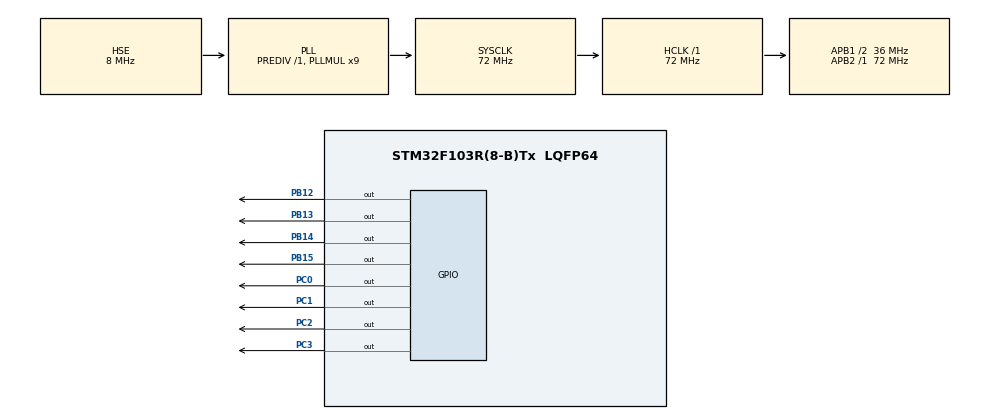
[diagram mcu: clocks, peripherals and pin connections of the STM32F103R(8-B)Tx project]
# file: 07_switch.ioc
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Mcu.Family=STM32F1
Mcu.Name=STM32F103R(8-B)Tx
Mcu.Package=LQFP64
NVIC.PriorityGroup=NVIC_PRIORITYGROUP_4
PB12.Signal=GPIO_Output
PB13.Signal=GPIO_Output
PB14.Signal=GPIO_Output
PB15.Signal=GPIO_Output
PC0.Signal=GPIO_Output
PC1.Signal=GPIO_Output
PC14-OSC32_IN.Mode=LSE-External-Oscillator
PC14-OSC32_IN.Signal=RCC_OSC32_IN
PC15-OSC32_OUT.Mode=LSE-External-Oscillator
PC15-OSC32_OUT.Signal=RCC_OSC32_OUT
PC2.Signal=GPIO_Output
PC3.Signal=GPIO_Output
PD0-OSC_IN.Mode=HSE-External-Clock-Source
PD0-OSC_IN.Signal=RCC_OSC_IN
PD1-OSC_OUT.Mode=HSE-External-Clock-Source
PD1-OSC_OUT.Signal=RCC_OSC_OUT
ProjectManager.HeapSize=0x200
ProjectManager.StackSize=0x400
ProjectManager.TargetToolchain=STM32CubeIDE
RCC.AHBFreq_Value=72000000
RCC.APB1CLKDivider=RCC_HCLK_DIV2
RCC.APB1Freq_Value=36000000
RCC.APB1TimFreq_Value=72000000
RCC.APB2Freq_Value=72000000
RCC.APB2TimFreq_Value=72000000
RCC.HCLKFreq_Value=72000000
RCC.PLLMUL=RCC_PLL_MUL9
RCC.PLLSourceVirtual=RCC_PLLSOURCE_HSE
RCC.SYSCLKFreq_VALUE=72000000
RCC.SYSCLKSource=RCC_SYSCLKSOURCE_PLLCLK
RCC.USBFreq_Value=72000000
board=custom

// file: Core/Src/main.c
/* USER CODE BEGIN Header */
/**
 ******************************************************************************
 * @file           : main.c
 * @brief          : Main program body
 ******************************************************************************
 * @attention
 *
 * Copyright (c) 2023 STMicroelectronics.
 * All rights reserved.
 *
 * This software is licensed under terms that can be found in the LICENSE file
 * in the root directory of this software component.
 * If no LICENSE file comes with this software, it is provided AS-IS.
 *
 ******************************************************************************
 */
/* USER CODE END Header */
#include "main.h"

void SystemClock_Config(void);
static void MX_GPIO_Init(void);

int main(void) {

	/* MCU Configuration--------------------------------------------------------*/

	/* Reset of all peripherals, Initializes the Flash interface and the Systick. */
	HAL_Init();

	/* Configure the system clock */
	SystemClock_Config();

	/* Initialize all configured peripherals */
	MX_GPIO_Init();
	/* USER CODE BEGIN 2 */
	void set_led(uint8_t num, uint8_t n) {
		switch (num) {
		case 1:
			HAL_GPIO_WritePin(GPIOC, GPIO_PIN_3, n);
			break;
		case 2:
			HAL_GPIO_WritePin(GPIOC, GPIO_PIN_2, n);
			break;
		case 3:
			HAL_GPIO_WritePin(GPIOC, GPIO_PIN_1, n);
			break;
		case 4:
			HAL_GPIO_WritePin(GPIOC, GPIO_PIN_0, n);
			break;
		case 5:
			HAL_GPIO_WritePin(GPIOB, GPIO_PIN_15, n);
			break;
		case 6:
			HAL_GPIO_WritePin(GPIOB, GPIO_PIN_14, n);
			break;
		case 7:
			HAL_GPIO_WritePin(GPIOB, GPIO_PIN_13, n);
			break;
		case 8:
			HAL_GPIO_WritePin(GPIOB, GPIO_PIN_12, n);
			break;
		}
	}

	/* USER CODE END 2 */

	/* Infinite loop */
	/* USER CODE BEGIN WHILE */
	while (1) {
		for (uint8_t i = 1; i < 9; i++) {
			set_led(i, GPIO_PIN_SET);
			HAL_Delay(500);
			set_led(i, GPIO_PIN_RESET);
			HAL_Delay(500);
		}
		/* USER CODE END WHILE */

	}
}

void SystemClock_Config(void) {
	RCC_OscInitTypeDef RCC_OscInitStruct = { 0 };
	RCC_ClkInitTypeDef RCC_ClkInitStruct = { 0 };

	/** Initializes the RCC Oscillators according to the specified parameters
	 * in the RCC_OscInitTypeDef structure.
	 */
	RCC_OscInitStruct.OscillatorType = RCC_OSCILLATORTYPE_HSE;
	RCC_OscInitStruct.HSEState = RCC_HSE_BYPASS;
	RCC_OscInitStruct.HSEPredivValue = RCC_HSE_PREDIV_DIV1;
	RCC_OscInitStruct.HSIState = RCC_HSI_ON;
	RCC_OscInitStruct.PLL.PLLState = RCC_PLL_ON;
	RCC_OscInitStruct.PLL.PLLSource = RCC_PLLSOURCE_HSE;
	RCC_OscInitStruct.PLL.PLLMUL = RCC_PLL_MUL9;
	if (HAL_RCC_OscConfig(&RCC_OscInitStruct) != HAL_OK) {
		Error_Handler();
	}

	/** Initializes the CPU, AHB and APB buses clocks
	 */
	RCC_ClkInitStruct.ClockType = RCC_CLOCKTYPE_HCLK | RCC_CLOCKTYPE_SYSCLK
			| RCC_CLOCKTYPE_PCLK1 | RCC_CLOCKTYPE_PCLK2;
	RCC_ClkInitStruct.SYSCLKSource = RCC_SYSCLKSOURCE_PLLCLK;
	RCC_ClkInitStruct.AHBCLKDivider = RCC_SYSCLK_DIV1;
	RCC_ClkInitStruct.APB1CLKDivider = RCC_HCLK_DIV2;
	RCC_ClkInitStruct.APB2CLKDivider = RCC_HCLK_DIV1;

	if (HAL_RCC_ClockConfig(&RCC_ClkInitStruct, FLASH_LATENCY_2) != HAL_OK) {
		Error_Handler();
	}
}

static void MX_GPIO_Init(void) {
	GPIO_InitTypeDef GPIO_InitStruct = { 0 };

	/* GPIO Ports Clock Enable */
	__HAL_RCC_GPIOC_CLK_ENABLE();
	__HAL_RCC_GPIOD_CLK_ENABLE();
	__HAL_RCC_GPIOB_CLK_ENABLE();

	/*Configure GPIO pin Output Level */
	HAL_GPIO_WritePin(GPIOC, GPIO_PIN_0 | GPIO_PIN_1 | GPIO_PIN_2 | GPIO_PIN_3,
			GPIO_PIN_RESET);

	/*Configure GPIO pin Output Level */
	HAL_GPIO_WritePin(GPIOB,
			GPIO_PIN_12 | GPIO_PIN_13 | GPIO_PIN_14 | GPIO_PIN_15,
			GPIO_PIN_RESET);

	/*Configure GPIO pins : PC0 PC1 PC2 PC3 */
	GPIO_InitStruct.Pin = GPIO_PIN_0 | GPIO_PIN_1 | GPIO_PIN_2 | GPIO_PIN_3;
	GPIO_InitStruct.Mode = GPIO_MODE_OUTPUT_PP;
	GPIO_InitStruct.Pull = GPIO_NOPULL;
	GPIO_InitStruct.Speed = GPIO_SPEED_FREQ_LOW;
	HAL_GPIO_Init(GPIOC, &GPIO_InitStruct);

	/*Configure GPIO pins : PB12 PB13 PB14 PB15 */
	GPIO_InitStruct.Pin = GPIO_PIN_12 | GPIO_PIN_13 | GPIO_PIN_14 | GPIO_PIN_15;
	GPIO_InitStruct.Mode = GPIO_MODE_OUTPUT_PP;
	GPIO_InitStruct.Pull = GPIO_NOPULL;
	GPIO_InitStruct.Speed = GPIO_SPEED_FREQ_LOW;
	HAL_GPIO_Init(GPIOB, &GPIO_InitStruct);

}

void Error_Handler(void) {
	__disable_irq();
	while (1) {
	}
}
